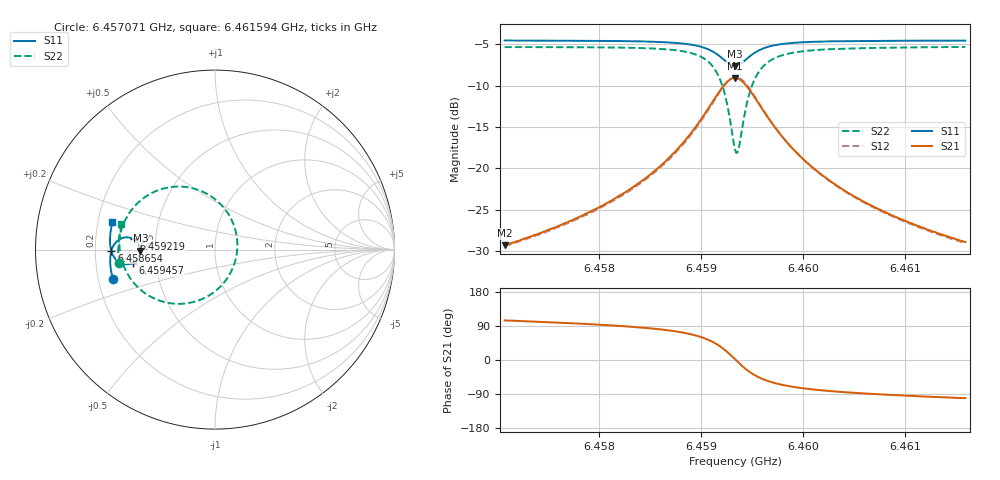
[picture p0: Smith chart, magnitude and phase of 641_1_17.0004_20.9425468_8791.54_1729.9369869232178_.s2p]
#  HZ  S  RI  R  50.00
! Rohde & Schwarz Vector Network Analyzer
! Rohde-Schwarz,ZNB20-2Port,1311601062101988,3.16
! Created: UTC 3/20/2024, 11:20:50 PM
! freq[Hz]  re:S11  im:S11  re:S21  im:S21  re:S12  im:S12  re:S22  im:S22
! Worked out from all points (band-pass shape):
!   401 points, 6.457071 GHz to 6.461594 GHz, reference 50 ohm
!   highest |S21| = -9.08 dB at 6.459333 GHz (marker M1); lowest = -29.3 dB at 6.457071 GHz (marker M2)
!   |S21| within 3 dB of the highest: 6.459107 GHz to 6.45956 GHz (452.6 kHz wide, 0.00701 % of centre)
!   lowest |S11| = -7.6 dB at 6.459333 GHz (marker M3), VSWR 2.42, Z = 20.7 - j0.342 ohm
!   |S11| at or under -10 dB: nowhere
!   |S22| runs from -18.1 to -5.3 dB; largest |S21 - S12| = 0.014
!   S11 on the Smith chart (normalised r, x): 6.457071 GHz: 0.26, -0.13; 6.458654 GHz: 0.27, -0.00; 6.459219 GHz: 0.38, +0.05; 6.459457 GHz: 0.37, -0.07; 6.461594 GHz: 0.26, +0.12
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6.4570706e9  -0.5687 -0.1649  -0.00863 0.0332  -0.00685 0.0331  -0.5346 -0.0762
6.4578284e9  -0.5818 -0.0982  -0.00516 0.0513  -0.00248 0.0507  -0.5385 0.0138
6.4582468e9  -0.5841 -0.056  0.00127 0.0711  0.00448 0.0697  -0.5293 0.0813
6.4585861e9  -0.5797 -0.015  0.0156 0.1003  0.0195 0.0974  -0.5025 0.1592
6.458654e9  -0.5774 -0.0055  0.0209 0.1087  0.025 0.1055  -0.4921 0.1794
6.4588462e9  -0.5643 0.0249  0.0483 0.1401  0.0523 0.1349  -0.441 0.2488
6.4589933e9  -0.5412 0.051  0.0943 0.1705  0.0975 0.1637  -0.3556 0.3132
6.459129e9  -0.4967 0.0682  0.1829 0.1866  0.1838 0.1793  -0.1935 0.3511
6.4592195e9  -0.4516 0.0574  0.2739 0.1546  0.2741 0.1487  -0.0246 0.2987
6.4592873e9  -0.4221 0.0248  0.3351 0.0814  0.3373 0.0761  0.0922 0.1664
6.4593326e9  -0.4153 -0.00685  0.3514 0.0123  0.3554 0.00527  0.1247 0.0369
6.4593665e9  -0.4193 -0.0308  0.3452 -0.0411  0.3495 -0.0503  0.1126 -0.0646
6.4594117e9  -0.4352 -0.0575  0.3161 -0.1019  0.3185 -0.114  0.0533 -0.1799
6.459457e9  -0.4576 -0.0741  0.2729 -0.1435  0.2724 -0.1571  -0.0342 -0.2562
6.4595474e9  -0.5017 -0.0811  0.1865 -0.1749  0.1802 -0.1868  -0.2071 -0.3024
6.4596153e9  -0.5265 -0.0737  0.1373 -0.1726  0.1289 -0.1818  -0.3025 -0.2866
6.4596945e9  -0.5463 -0.0605  0.097 -0.1602  0.0882 -0.1667  -0.3778 -0.2509
6.4598528e9  -0.568 -0.0326  0.0515 -0.1316  0.0436 -0.1343  -0.4593 -0.177
6.4600903e9  -0.5808 0.00282  0.0222 -0.0991  0.0161 -0.0997  -0.5078 -0.0931
6.4604183e9  -0.5853 0.0425  0.00619 -0.0723  0.00207 -0.0719  -0.5288 -0.0153
6.460848e9  -0.5833 0.0861  -0.0017 -0.0527  -0.0047 -0.0519  -0.5329 0.0554
6.4615945e9  -0.5712 0.1525  -0.00666 -0.0353  -0.00844 -0.0341  -0.5215 0.1447
